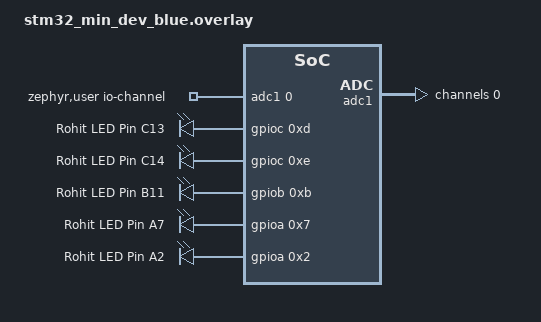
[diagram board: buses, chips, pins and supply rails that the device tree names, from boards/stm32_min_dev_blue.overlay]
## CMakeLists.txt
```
# SPDX-License-Identifier: Apache-2.0
cmake_minimum_required(VERSION 3.20.0)
# set(BOARD stm32f401_mini)
set(BOARD stm32_min_dev_blue)
set($ENV{ZEPHYR_BASE} /home/rohit/code/zephyrproject/zephyr)

# set variable before find_package line
find_package(Zephyr)
project(blue-pill VERSION 0.1.0)

target_sources(app PRIVATE src/main.c)

    
```

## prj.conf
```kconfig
CONFIG_GPIO=y
CONFIG_ADC=y

CONFIG_SERIAL=y
CONFIG_CONSOLE=y
CONFIG_UART_CONSOLE=y
```

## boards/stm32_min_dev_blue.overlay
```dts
#include <zephyr/dt-bindings/adc/adc.h>

/ {
	zephyr,user {
		/* adjust channel number according to pinmux in board.dts */
		io-channels = <&adc1 0>;
	};
	aliases {
		led-built-in = &led_c13;
		led-white = &led_b11;
		led-green = &led_a7;
		led-yellow = &led_a2;
		ledred = &led_c14;
	};

	leds {
		compatible = "gpio-leds";
		led_c13: led_c13 {
			gpios = <&gpioc 0xd GPIO_ACTIVE_HIGH>;
			label = "Rohit LED Pin C13";
			};        led_c14: led_c14 {
			gpios = <&gpioc 0xe GPIO_ACTIVE_HIGH>;
			label = "Rohit LED Pin C14";
		};
		led_b11: led_b11 {
			gpios = <&gpiob 0xb GPIO_ACTIVE_HIGH>;
			label = "Rohit LED Pin B11";
		};
		led_a7: led_a7 {
			gpios = <&gpioa 0x7 GPIO_ACTIVE_HIGH>;
			label = "Rohit LED Pin A7";
			};                led_a2: led_a2 {
			gpios = <&gpioa 0x2 GPIO_ACTIVE_HIGH>;
			label = "Rohit LED Pin A2";
		};
	};
};
&adc1 {
	#address-cells = <1>;
	#size-cells = <0>;

	channel@0 {
		reg = <0>;
		zephyr,gain = "ADC_GAIN_1";
		zephyr,reference = "ADC_REF_INTERNAL";
		zephyr,acquisition-time = <ADC_ACQ_TIME_DEFAULT>;
		zephyr,resolution = <12>;
	};
};
```

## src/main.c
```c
/*
 * Copyright (c) 2016 Intel Corporation
 *
 * SPDX-License-Identifier: Apache-2.0
 */

#include <zephyr/zephyr.h>
#include <zephyr/drivers/gpio.h>
#include <inttypes.h>
#include <stddef.h>
#include <stdint.h>

#include <zephyr/device.h>
#include <zephyr/devicetree.h>
#include <zephyr/drivers/adc.h>
#include <zephyr/kernel.h>
#include <zephyr/sys/printk.h>
#include <zephyr/sys/util.h>

#if !DT_NODE_EXISTS(DT_PATH(zephyr_user)) || \
	!DT_NODE_HAS_PROP(DT_PATH(zephyr_user), io_channels)
#error "No suitable devicetree overlay specified"
#endif

#define DT_SPEC_AND_COMMA(node_id, prop, idx) \
	ADC_DT_SPEC_GET_BY_IDX(node_id, idx),

/* Data of ADC io-channels specified in devicetree. */
static struct adc_dt_spec lm35 = ADC_DT_SPEC_GET_BY_IDX(DT_PATH(zephyr_user), 0);

/* 1000 msec = 1 sec */
#define SLEEP_TIME_MS 1000

/* The devicetree node identifier for the "led0" alias. */
#define LED0_NODE DT_ALIAS(led_yellow)

/*
 * A build error on this line means your board is unsupported.
 * See the sample documentation for information on how to fix this.
 */
static const struct gpio_dt_spec led = GPIO_DT_SPEC_GET(LED0_NODE, gpios);

void main(void)
{
	int ret;

	if (!device_is_ready(led.port))
	{
		return;
	}

	ret = gpio_pin_configure_dt(&led, GPIO_OUTPUT_ACTIVE);
	if (ret < 0)
	{
		return;
	}

	int err;
	int16_t buf;
	struct adc_sequence sequence = {
		.buffer = &buf,
		/* buffer size in bytes, not number of samples */
		.buffer_size = sizeof(buf),
	};

	if (!device_is_ready(lm35.dev))
	{
		printk("ADC controller device not ready\n");
		return;
	}

	err = adc_channel_setup_dt(&lm35);
	if (err < 0)
	{
		printk("Could not setup channel  (%d)\n", err);
		return;
	}

	while (1)
	{
		printk("ADC reading:\n");
		int32_t val_mv;

		printk("- %s, channel %d: ",
			   lm35.dev->name,
			   lm35.channel_id);

		(void)adc_sequence_init_dt(&lm35, &sequence);

		err = adc_read(lm35.dev, &sequence);
		if (err < 0)
		{
			printk("Could not read (%d)\n", err);
			continue;
		}
		else
		{
			printk("%" PRId16, buf);
		}

		/* conversion to mV may not be supported, skip if not */
		val_mv = buf;
		err = adc_raw_to_millivolts_dt(&lm35,
									   &val_mv);
		if (err < 0)
		{
			printk(" (value in mV not available)\n");
		}
		else
		{
			printk(" = %" PRId32 " mV\n", val_mv);
		}
		k_sleep(K_MSEC(1000));
	}

	while (1)
	{
		ret = gpio_pin_toggle_dt(&led);
		if (ret < 0)
		{
			return;
		}
		k_msleep(SLEEP_TIME_MS);
	}
}
```
